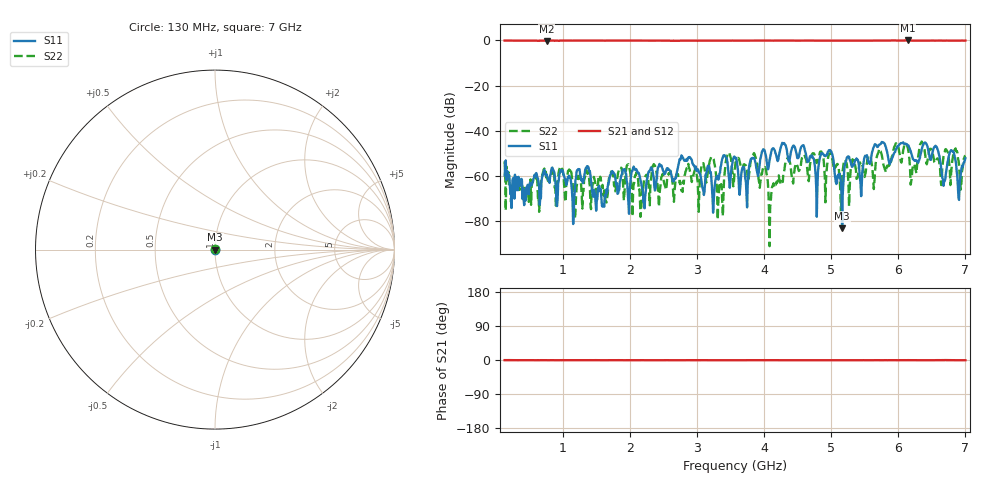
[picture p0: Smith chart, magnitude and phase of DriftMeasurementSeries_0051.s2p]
# Hz S RI R 50.000000
! Metas.Vna.Tools, 2.8.8664.20301
! Metas.Vna.Data, 2.8.8664.20285
! Created: UTC 2024.02.11 10:08:24
! FREQ  re:S1,1  im:S1,1  re:S2,1  im:S2,1  re:S1,2  im:S1,2  re:S2,2  im:S2,2
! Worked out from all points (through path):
!   801 points, 130 MHz to 7 GHz, reference 50 ohm
!   highest |S21| = -0.01 dB at 6.141 GHz (marker M1); lowest = -0.2 dB at 756.9 MHz (marker M2)
!   lowest |S11| = -83.2 dB at 5.162 GHz (marker M3), VSWR 1.00, Z = 50 - j0.00683 ohm
!   |S11| at or under -10 dB: start of sweep to end of sweep
!   |S22| runs from -91.1 to -44.8 dB; largest |S21 - S12| = 0.025
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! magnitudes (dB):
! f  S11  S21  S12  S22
! 130 MHz  -59.8  -0.1  0.0  -53.6
! 756.9 MHz  -59.3  -0.2  0.0  -61.0
! 1.281 GHz  -61.4  0.0  0.0  -69.4
! 1.607 GHz  -73.0  -0.1  0.0  -68.8
! 1.736 GHz  -57.9  -0.1  0.0  -58.6
! 2.208 GHz  -70.1  -0.1  0.0  -62.0
! 2.423 GHz  -56.1  -0.1  0.0  -68.8
! 2.887 GHz  -51.6  -0.1  0.0  -56.8
! 3.247 GHz  -71.5  -0.1  0.0  -52.6
! 3.342 GHz  -58.6  -0.1  0.0  -63.3
! 3.462 GHz  -56.9  -0.1  0.0  -50.2
! 3.565 GHz  -51.9  -0.1  0.0  -56.6
! 3.848 GHz  -52.0  -0.1  0.0  -49.9
! 4.097 GHz  -50.4  -0.1  0.0  -71.5
! 4.716 GHz  -51.1  -0.1  0.0  -50.3
! 5.162 GHz  -83.2  -0.1  0.0  -60.6
! 5.248 GHz  -51.4  -0.1  0.0  -59.3
! 5.858 GHz  -53.4  -0.1  0.0  -55.3
! 6.141 GHz  -46.4  0.0  0.0  -47.5
! 6.562 GHz  -46.8  -0.1  0.0  -53.3
! 6.682 GHz  -62.5  -0.1  0.0  -50.2
! 7 GHz  -52.2  -0.1  0.0  -51.0
